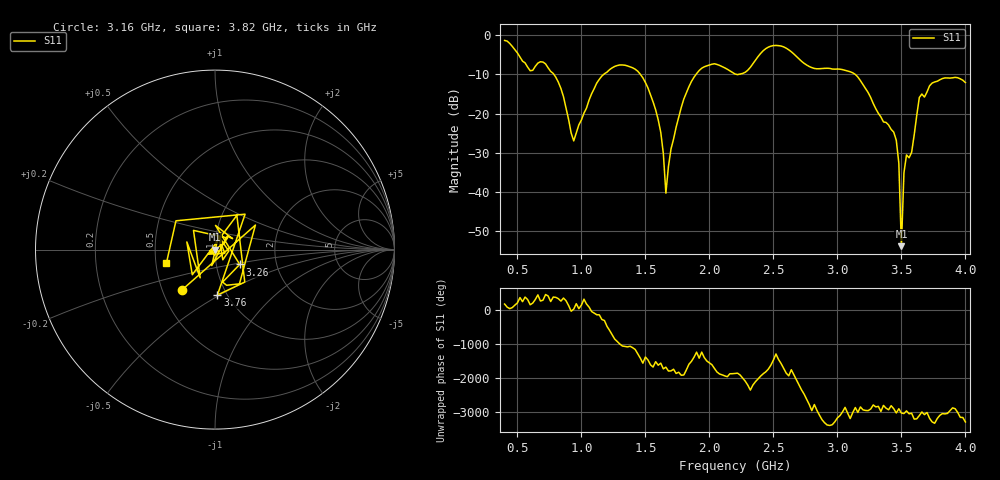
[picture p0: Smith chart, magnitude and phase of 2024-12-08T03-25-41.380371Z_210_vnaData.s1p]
!Created with skrf (http://scikit-rf.org).
# Hz S RI R 50.0
!freq ReS11 ImS11
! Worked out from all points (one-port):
!   181 points, 400 MHz to 4 GHz, reference 50 ohm
!   lowest |S11| = -53.8 dB at 3.5 GHz (marker M1), VSWR 1.00, Z = 49.8 - j0.109 ohm
!   |S11| at or under -10 dB: 785.2 MHz to 1.174 GHz (388.6 MHz wide, 39.7 % of centre); 1.461 GHz to 1.895 GHz (434.1 MHz wide, 25.9 % of centre); 3.14 GHz to end of sweep (the widest 3 of 4)
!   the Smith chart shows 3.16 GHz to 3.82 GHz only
!   S11 on the Smith chart (normalised r, x): 3.16 GHz: 0.63, -0.31; 3.26 GHz: 1.30, -0.22; 3.76 GHz: 0.90, -0.49; 3.82 GHz: 0.57, -0.09
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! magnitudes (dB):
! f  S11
! 400 MHz  -1.3
! 600 MHz  -9.0
! 720 MHz  -7.3
! 860 MHz  -15.7
! 940 MHz  -27.0
! 1.12 GHz  -12.2
! 1.3 GHz  -7.6
! 1.56 GHz  -17.0
! 1.62 GHz  -24.8
! 1.66 GHz  -40.3
! 1.7 GHz  -29.0
! 1.76 GHz  -21.0
! 1.94 GHz  -8.4
! 2.2 GHz  -9.9
! 2.48 GHz  -2.8
! 2.66 GHz  -4.8
! 3.1 GHz  -9.3
! 3.16 GHz  -10.7
! 3.26 GHz  -15.9
! 3.46 GHz  -26.8
! 3.48 GHz  -32.6
! 3.5 GHz  -53.8
! 3.52 GHz  -35.1
! 3.56 GHz  -31.3
! 3.64 GHz  -15.9
! 3.76 GHz  -11.9
! 3.82 GHz  -11.1
! 4 GHz  -12.1
